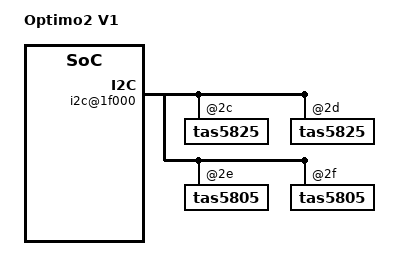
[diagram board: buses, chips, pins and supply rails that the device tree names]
/*
 * Copyright (c) 2021, Sonos, Inc.
 *
 * SPDX-License-Identifier:     GPL-2.0
 *
 * v0	- Optimo2 p1a
 * v1	- Optimo2 p1b - board-only build
 */

/dts-v1/;

#include "optimo_common.dtsi"

/ {
	model = "Optimo2 V1";

        sonos-product-id = <0x03>;

	dolby_fw {
		status = "okay";
	};

	soc {
		cbus@ffd00000 {
                        i2c@1f000 {
				tas5825@2c {
					status = "okay";
				};
				tas5825@2d {
					status = "okay";
				};
				tas5805@2e {
					status = "okay";
				};
				tas5805@2f {
					status = "okay";
				};
			};
		};
		aobus@ff800000 {
			i2c@5000 {
				/delete-node/ is31fl3195@54 ;
			};
		};
	};
};
